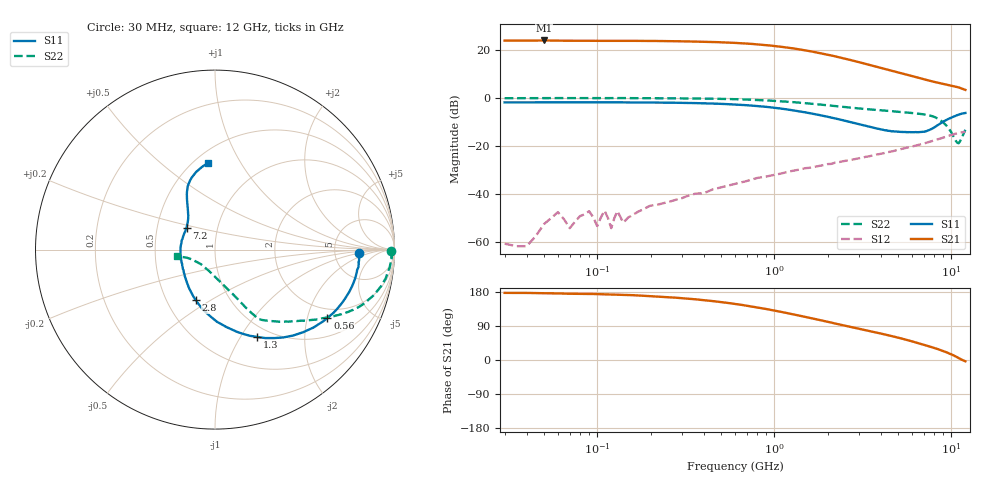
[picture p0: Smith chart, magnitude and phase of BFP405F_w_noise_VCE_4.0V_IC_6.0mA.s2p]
! Infineon Technologies  Discrete & RF Semiconductors
! BFP405F
! VCE =  4.0 V,  IC =  6.0 mA
! Common Emitter S-Parameters:  Nov 2015
# GHz  S  MA  R  50
!  f  S11  S21  S12  S22
! GHz  MAG  ANG  MAG  ANG  MAG  ANG  MAG  ANG
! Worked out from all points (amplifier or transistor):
!   239 points, 30 MHz to 12 GHz, reference 50 ohm
!   highest |S21| = 23.9 dB at 50 MHz (marker M1)
!   |S21| within 3 dB of that: start of sweep to 1.193 GHz
!   unconditionally stable (mu >= 1): 2.826 GHz to end of sweep
!   at 300 MHz: K = 0.22, MSG = 32.8 dB, |S12| = -41.9 dB
!   at 1.88 GHz: K = 0.72, MSG = 23.3 dB, |S12| = -28.2 dB
!   at 12 GHz: K = 1.44, MAG = 4.8 dB, |S12| = -14.2 dB
!   lowest NFmin = 1.38 dB at 450 MHz
!   S11 on the Smith chart (normalised r, x): 30 MHz: 8.97, -0.91; 560 MHz: 1.63, -2.67; 1.3 GHz: 0.86, -1.18; 2.8 GHz: 0.70, -0.43; 7.2 GHz: 0.71, +0.18; 12 GHz: 0.59, +0.73
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0.03  0.8012 -1.3  15.59 177.1  0.0009 140.1  0.9804 -0.6
0.04  0.8022 -1.9  15.58 177.0  0.0008 152.1  0.9844 -0.8
0.05  0.8018 -3.2  15.72 176.1  0.0023 83.6  0.9853 -1.1
0.06  0.805 -3.5  15.53 175.7  0.0041 47.3  0.9852 -1.2
0.07  0.8053 -4.0  15.54 174.8  0.0019 73.7  0.9841 -1.7
0.085  0.8031 -4.9  15.48 174.4  0.0037 83.0  0.9851 -2.0
0.11  0.8051 -6.4  15.43 173.3  0.0044 99.2  0.9829 -2.6
0.12  0.8048 -7.0  15.4 173.1  0.0019 89.7  0.9853 -2.9
0.145  0.8001 -8.5  15.44 171.9  0.0028 77.8  0.9848 -3.5
0.24  0.793 -13.8  15.22 166.4  0.0064 83.3  0.9778 -6.0
0.4  0.7672 -22.9  14.78 158.0  0.0102 78.6  0.9637 -9.8
0.56  0.7327 -31.3  14.13 149.9  0.015 78.3  0.9398 -13.5
0.6  0.7239 -33.4  13.98 147.9  0.016 77.9  0.9337 -14.3
0.9  0.6472 -47.7  12.57 134.5  0.0227 70.7  0.8811 -20.1
1.3  0.5407 -64.2  10.63 119.6  0.0304 66.7  0.8065 -26.0
1.64  0.4663 -76.2  9.187 109.7  0.0353 63.9  0.7494 -29.8
2.2  0.3706 -94.4  7.345 96.4  0.0442 61.5  0.672 -35.6
2.8  0.3003 -110.9  5.925 85.7  0.0518 59.6  0.6139 -40.3
4.5  0.2034 -153.9  3.743 64.3  0.0745 55.7  0.5293 -49.2
7.2  0.2004 142.2  2.369 38.3  0.1146 48.3  0.4414 -58.4
10.8  0.4337 105.6  1.676 7.0  0.1818 30.8  0.1151 -118.0
12  0.4814 94.8  1.459 -3.5  0.1956 24.1  0.2148 -170.2
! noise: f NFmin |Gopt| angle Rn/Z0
0.45  1.38  0.34  6  0.33
0.9  1.39  0.31  11  0.33
1.5  1.45  0.29  18  0.31
1.9  1.48  0.27  24  0.3
2.4  1.63  0.26  33  0.32
3  1.7  0.24  45  0.31
3.5  1.75  0.22  54  0.28
4.5  1.9  0.17  62  0.22
5.5  2.12  0.09  71  0.09
